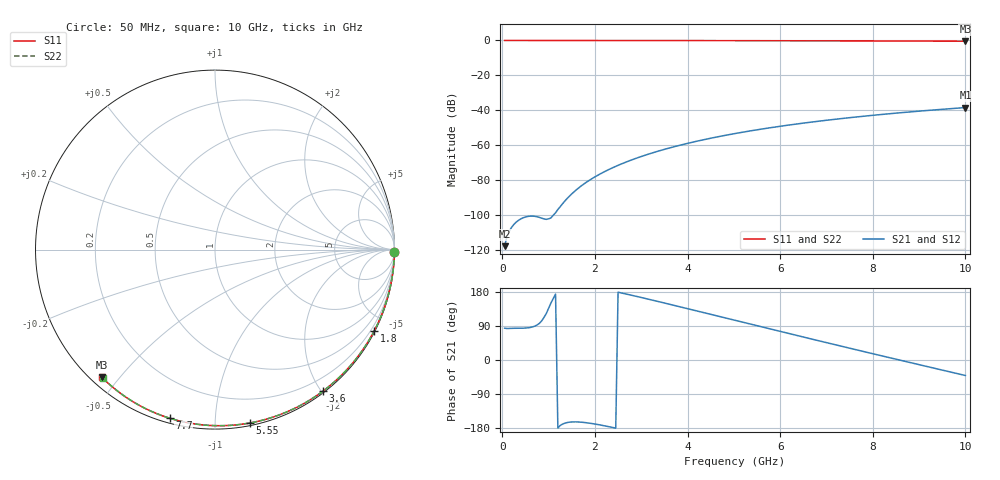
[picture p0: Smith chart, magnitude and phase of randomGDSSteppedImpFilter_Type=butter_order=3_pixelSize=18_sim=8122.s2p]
! freq	dB(S11)	phase(S11)	dB(S12)	phase(S12)
!  dB(S21)	phase(S21)	dB(S22)	phase(S22)
!S-par simulation data
#  GHz  S  DB  R 50
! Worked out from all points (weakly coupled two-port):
!   200 points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, 50 MHz to 10 GHz, reference 50 ohm
!   highest |S21| = -38.41 dB at 10 GHz (marker M1); lowest = -117.7 dB at 50 MHz (marker M2)
!   lowest |S11| = -0.4 dB at 10 GHz (marker M3), VSWR 39.25, Z = 1.53 - j22.5 ohm
!   |S11| at or under -10 dB: nowhere
!   |S22| runs from -0.4 to 0.0 dB; largest |S21 - S12| = 0
!   S11 on the Smith chart (normalised r, x): 50 MHz: open; 1.8 GHz: 0.04, -4.17; 3.6 GHz: 0.02, -2.02; 5.55 GHz: 0.02, -1.22; 7.7 GHz: 0.02, -0.77; 10 GHz: 0.03, -0.45
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0.05  -0.00 -0.8  -117.71 84.0  -117.71 84.0  -0.00 -0.8
0.9  -0.02 -13.6  -102.11 112.3  -102.11 112.3  -0.02 -13.6
1.75  -0.03 -26.2  -82.34 -164.6  -82.34 -164.6  -0.03 -26.1
1.8  -0.03 -26.9  -81.41 -165.3  -81.41 -165.3  -0.03 -26.9
1.85  -0.04 -27.7  -80.52 -166.1  -80.52 -166.1  -0.04 -27.6
1.9  -0.04 -28.4  -79.67 -167.0  -79.67 -167.0  -0.04 -28.3
2.05  -0.04 -30.6  -77.30 -170.0  -77.30 -170.0  -0.04 -30.5
2.25  -0.04 -33.5  -74.50 -174.7  -74.50 -174.7  -0.04 -33.4
2.45  -0.05 -36.4  -72.03 -179.8  -72.03 -179.8  -0.05 -36.3
2.65  -0.05 -39.3  -69.81 174.8  -69.81 174.8  -0.05 -39.2
3  -0.06 -44.3  -66.40 165.0  -66.40 165.0  -0.06 -44.1
3.4  -0.07 -49.9  -63.07 153.4  -63.07 153.4  -0.07 -49.8
3.6  -0.07 -52.7  -61.58 147.4  -61.58 147.4  -0.07 -52.5
4.3  -0.09 -62.3  -57.07 126.5  -57.07 126.5  -0.09 -62.1
5.05  -0.11 -72.2  -53.14 104.0  -53.14 104.0  -0.11 -72.0
5.55  -0.13 -78.7  -50.91 89.0  -50.91 89.0  -0.13 -78.5
6.1  -0.15 -85.7  -48.73 72.5  -48.73 72.5  -0.15 -85.4
6.7  -0.18 -93.1  -46.63 54.7  -46.63 54.7  -0.18 -92.8
7.7  -0.24 -105.1  -43.62 25.3  -43.62 25.3  -0.24 -104.8
8.35  -0.29 -112.7  -41.95 6.4  -41.95 6.4  -0.29 -112.4
9.15  -0.36 -121.9  -40.12 -16.6  -40.12 -16.6  -0.36 -121.5
10  -0.44 -131.5  -38.41 -40.9  -38.41 -40.9  -0.44 -131.1
